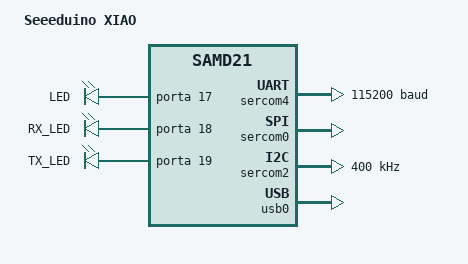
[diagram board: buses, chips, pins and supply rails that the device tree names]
/*
 * Copyright (c) 2020 Google LLC.
 *
 * SPDX-License-Identifier: Apache-2.0
 */

/dts-v1/;
#include <atmel/samd21.dtsi>
#include "seeeduino_xiao-pinctrl.dtsi"
#include "seeed_xiao_connector.dtsi"

/ {
	model = "Seeeduino XIAO";
	compatible = "seeed,seeeduino-xiao";

	chosen {
		zephyr,console = &sercom4;
		zephyr,shell-uart = &sercom4;
		zephyr,sram = &sram0;
		zephyr,flash = &flash0;
		zephyr,code-partition = &code_partition;
	};

	leds {
		compatible = "gpio-leds";
		led: led_0 {
			gpios = <&porta 17 0>;
			label = "LED";
		};
		rx_led: led_1 {
			gpios = <&porta 18 0>;
			label = "RX_LED";
		};
		tx_led: led_2 {
			gpios = <&porta 19 0>;
			label = "TX_LED";
		};
	};

	/* These aliases are provided for compatibility with samples */
	aliases {
		led0 = &led;
		led1 = &rx_led;
		led2 = &tx_led;
	};
};

&cpu0 {
	clock-frequency = <48000000>;
};

&sercom4 {
	status = "okay";
	compatible = "atmel,sam0-uart";
	current-speed = <115200>;
	rxpo = <1>;
	txpo = <0>;

	pinctrl-0 = <&sercom4_uart_default>;
	pinctrl-names = "default";
};

&sercom0 {
	status = "okay";
	compatible = "atmel,sam0-spi";
	dipo = <1>;
	dopo = <1>;
	#address-cells = <1>;
	#size-cells = <0>;

	pinctrl-0 = <&sercom0_spi_default>;
	pinctrl-names = "default";
};

&sercom2 {
	status = "okay";
	compatible = "atmel,sam0-i2c";
	clock-frequency = <I2C_BITRATE_FAST>;
	#address-cells = <1>;
	#size-cells = <0>;

	pinctrl-0 = <&sercom2_i2c_default>;
	pinctrl-names = "default";
};

zephyr_udc0: &usb0 {
	status = "okay";

	pinctrl-0 = <&usb_dc_default>;
	pinctrl-names = "default";
};

&flash0 {
	partitions {
		compatible = "fixed-partitions";
		#address-cells = <1>;
		#size-cells = <1>;

		boot_partition: partition@0 {
			label = "uf2";
			reg = <0x00000000 DT_SIZE_K(8)>;
			read-only;
		};

		code_partition: partition@2000 {
			label = "code";
			reg = <0x2000 DT_SIZE_K(256-8-16)>;
			read-only;
		};

		/*
		 * The final 16 KiB is reserved for the application.
		 * Storage partition may be used by FCB or LittleFS.
		 */
		storage_partition: partition@3c000 {
			label = "storage";
			reg = <0x0003c000 DT_SIZE_K(16)>;
		};
	};
};
